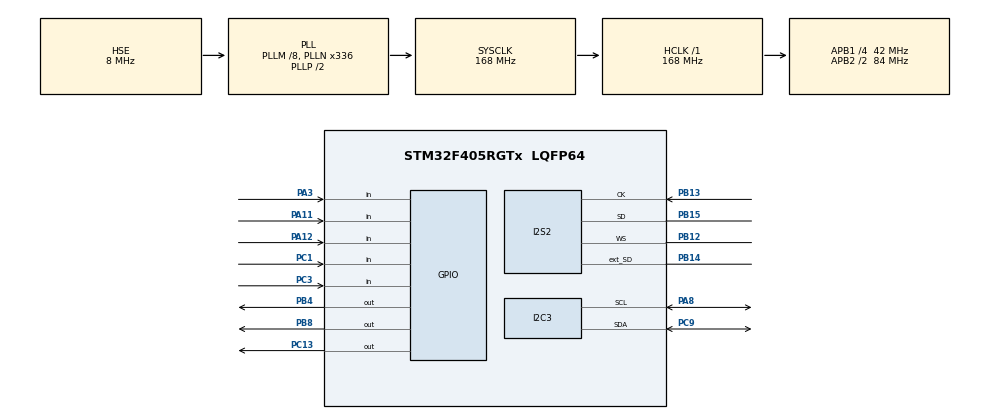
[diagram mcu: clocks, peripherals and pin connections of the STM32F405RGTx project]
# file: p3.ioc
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Dma.I2S2_EXT_RX.1.Direction=DMA_PERIPH_TO_MEMORY
Dma.I2S2_EXT_RX.1.FIFOMode=DMA_FIFOMODE_DISABLE
Dma.I2S2_EXT_RX.1.Instance=DMA1_Stream3
Dma.I2S2_EXT_RX.1.MemDataAlignment=DMA_MDATAALIGN_HALFWORD
Dma.I2S2_EXT_RX.1.MemInc=DMA_MINC_ENABLE
Dma.I2S2_EXT_RX.1.Mode=DMA_CIRCULAR
Dma.I2S2_EXT_RX.1.PeriphDataAlignment=DMA_PDATAALIGN_HALFWORD
Dma.I2S2_EXT_RX.1.PeriphInc=DMA_PINC_DISABLE
Dma.I2S2_EXT_RX.1.Priority=DMA_PRIORITY_VERY_HIGH
Dma.Request0=SPI2_TX
Dma.Request1=I2S2_EXT_RX
Dma.SPI2_TX.0.Direction=DMA_MEMORY_TO_PERIPH
Dma.SPI2_TX.0.FIFOMode=DMA_FIFOMODE_DISABLE
Dma.SPI2_TX.0.Instance=DMA1_Stream4
Dma.SPI2_TX.0.MemDataAlignment=DMA_MDATAALIGN_HALFWORD
Dma.SPI2_TX.0.MemInc=DMA_MINC_ENABLE
Dma.SPI2_TX.0.Mode=DMA_CIRCULAR
Dma.SPI2_TX.0.PeriphDataAlignment=DMA_PDATAALIGN_HALFWORD
Dma.SPI2_TX.0.PeriphInc=DMA_PINC_DISABLE
Dma.SPI2_TX.0.Priority=DMA_PRIORITY_VERY_HIGH
I2S2.AudioFreq=I2S_AUDIOFREQ_48K
I2S2.DataFormat=I2S_DATAFORMAT_16B_EXTENDED
I2S2.ErrorAudioFreq=0.02 %
I2S2.FullDuplexMode=I2S_FULLDUPLEXMODE_ENABLE
I2S2.Instance=SPI$Index
I2S2.RealAudioFreq=48.014 KHz
I2S2.VirtualMode=I2S_MODE_SLAVE
Mcu.Family=STM32F4
Mcu.Name=STM32F405RGTx
Mcu.Package=LQFP64
NVIC.DMA1_Stream3_IRQn=true\:0\:0\:true\:false\:true\:false
NVIC.DMA1_Stream4_IRQn=true\:0\:0\:true\:false\:true\:false
NVIC.PriorityGroup=NVIC_PRIORITYGROUP_4
PA11.Signal=GPIO_Input
PA12.Signal=GPIO_Input
PA13.Mode=Serial_Wire
PA13.Signal=SYS_JTMS-SWDIO
PA14.Mode=Serial_Wire
PA14.Signal=SYS_JTCK-SWCLK
PA3.Signal=GPIO_Input
PA8.Mode=I2C
PA8.Signal=I2C3_SCL
PB12.Mode=Full_Duplex_Slave
PB12.Signal=I2S2_WS
PB13.Mode=Full_Duplex_Slave
PB13.Signal=I2S2_CK
PB14.Mode=Full_Duplex_Slave
PB14.Signal=I2S2_ext_SD
PB15.Mode=Full_Duplex_Slave
PB15.Signal=I2S2_SD
PB3.Signal=SYS_JTDO-SWO
PB4.Signal=GPIO_Output
PB8.Signal=GPIO_Output
PC1.Signal=GPIO_Input
PC13-ANTI_TAMP.Signal=GPIO_Output
PC3.Signal=GPIO_Input
PC9.Mode=I2C
PC9.Signal=I2C3_SDA
PH0-OSC_IN.Mode=HSE-External-Oscillator
PH0-OSC_IN.Signal=RCC_OSC_IN
PH1-OSC_OUT.Mode=HSE-External-Oscillator
PH1-OSC_OUT.Signal=RCC_OSC_OUT
ProjectManager.HeapSize=0x200
ProjectManager.StackSize=0x400
ProjectManager.TargetToolchain=TrueSTUDIO
RCC.48MHZClocksFreq_Value=84000000
RCC.AHBFreq_Value=168000000
RCC.APB1CLKDivider=RCC_HCLK_DIV4
RCC.APB1Freq_Value=42000000
RCC.APB1TimFreq_Value=84000000
RCC.APB2CLKDivider=RCC_HCLK_DIV2
RCC.APB2Freq_Value=84000000
RCC.APB2TimFreq_Value=168000000
RCC.CortexFreq_Value=168000000
RCC.HCLKFreq_Value=168000000
RCC.HSE_VALUE=8000000
RCC.HSI_VALUE=16000000
RCC.LSE_VALUE=32768
RCC.PLLI2SN=295
RCC.PLLI2SR=3
RCC.PLLM=8
RCC.PLLN=336
RCC.PLLSourceVirtual=RCC_PLLSOURCE_HSE
RCC.SYSCLKFreq_VALUE=168000000
RCC.SYSCLKSource=RCC_SYSCLKSOURCE_PLLCLK
RCC.VCOOutputFreq_Value=336000000
board=custom

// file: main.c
/* USER CODE BEGIN Header */
/**
  ******************************************************************************
  * @file           : main.c
  * @brief          : Main program body
  ******************************************************************************
  ** This notice applies to any and all portions of this file
  * that are not between comment pairs USER CODE BEGIN and
  * USER CODE END. Other portions of this file, whether
  * inserted by the user or by software development tools
  * are owned by their respective copyright owners.
  *
  * COPYRIGHT(c) 2019 STMicroelectronics
  *
  * Redistribution and use in source and binary forms, with or without modification,
  * are permitted provided that the following conditions are met:
  *   1. Redistributions of source code must retain the above copyright notice,
  *      this list of conditions and the following disclaimer.
  *   2. Redistributions in binary form must reproduce the above copyright notice,
  *      this list of conditions and the following disclaimer in the documentation
  *      and/or other materials provided with the distribution.
  *   3. Neither the name of STMicroelectronics nor the names of its contributors
  *      may be used to endorse or promote products derived from this software
  *      without specific prior written permission.
  *
  * THIS SOFTWARE IS PROVIDED BY THE COPYRIGHT HOLDERS AND CONTRIBUTORS "AS IS"
  * AND ANY EXPRESS OR IMPLIED WARRANTIES, INCLUDING, BUT NOT LIMITED TO, THE
  * IMPLIED WARRANTIES OF MERCHANTABILITY AND FITNESS FOR A PARTICULAR PURPOSE ARE
  * DISCLAIMED. IN NO EVENT SHALL THE COPYRIGHT HOLDER OR CONTRIBUTORS BE LIABLE
  * FOR ANY DIRECT, INDIRECT, INCIDENTAL, SPECIAL, EXEMPLARY, OR CONSEQUENTIAL
  * DAMAGES (INCLUDING, BUT NOT LIMITED TO, PROCUREMENT OF SUBSTITUTE GOODS OR
  * SERVICES; LOSS OF USE, DATA, OR PROFITS; OR BUSINESS INTERRUPTION) HOWEVER
  * CAUSED AND ON ANY THEORY OF LIABILITY, WHETHER IN CONTRACT, STRICT LIABILITY,
  * OR TORT (INCLUDING NEGLIGENCE OR OTHERWISE) ARISING IN ANY WAY OUT OF THE USE
  * OF THIS SOFTWARE, EVEN IF ADVISED OF THE POSSIBILITY OF SUCH DAMAGE.
  *
  ******************************************************************************
  */
/* USER CODE END Header */

#include "main.h"

I2C_HandleTypeDef hi2c3;

I2S_HandleTypeDef hi2s2;
DMA_HandleTypeDef hdma_spi2_tx;
DMA_HandleTypeDef hdma_i2s2_ext_rx;

void SystemClock_Config(void);
static void MX_GPIO_Init(void);
static void MX_DMA_Init(void);
static void MX_I2C3_Init(void);
static void MX_I2S2_Init(void);

/* USER CODE BEGIN 0 */

volatile int16_t RX_BUFFER[BLOCK_SIZE*2] = {}; // 受信バッファ
volatile int16_t TX_BUFFER[BLOCK_SIZE*2] = {}; // 送信バッファ
volatile uint8_t sw[5] = {};           // スイッチオン・オフ状態
volatile uint8_t pot[3] = {10, 50, 0}; // LEVEL RATE MODE 各パラメータ
volatile uint8_t mute = 0;             // データ保存時ノイズ ミュート用

void writeLEVEL(uint8_t);
void writeRATE(uint8_t);
void writeMODE(uint8_t);
void saveData(void);

/* USER CODE END 0 */

int main(void)
{

  /* MCU Configuration--------------------------------------------------------*/

  /* Reset of all peripherals, Initializes the Flash interface and the Systick. */
  HAL_Init();

  /* Configure the system clock */
  SystemClock_Config();

  /* Initialize all configured peripherals */
  MX_GPIO_Init();
  MX_DMA_Init();
  MX_I2C3_Init();
  MX_I2S2_Init();
  /* USER CODE BEGIN 2 */

  // I2SのDMA開始
  HAL_I2SEx_TransmitReceive_DMA(&hi2s2,(uint16_t*)TX_BUFFER,(uint16_t*)RX_BUFFER,BLOCK_SIZE*2);

  // 割り込みが受信と送信で2回発生しないよう片方の割り込みを無効化
  HAL_NVIC_DisableIRQ(DMA1_Stream4_IRQn);

  // 起動画面
  ssd1306_Init();
  ssd1306_Fill(White);
  ssd1306_SetCursor(9, 9);
  ssd1306_WriteString("S", Font_16x26, Black);
  ssd1306_SetCursor(26, 9);
  ssd1306_WriteString("r", Font_16x26, Black);
  ssd1306_SetCursor(44, 9);
  ssd1306_WriteString("e", Font_16x26, Black);
  ssd1306_SetCursor(64, 9);
  ssd1306_WriteString("m", Font_16x26, Black);
  ssd1306_SetCursor(82, 9);
  ssd1306_WriteString("p", Font_16x26, Black);
  ssd1306_SetCursor(101, 9);
  ssd1306_WriteString("y", Font_16x26, Black);
  ssd1306_SetCursor(9, 40);
  ssd1306_WriteString("Simulated Phaser", Font_7x10, Black);
  ssd1306_SetCursor(45, 52);
  ssd1306_WriteString("v1.00", Font_7x10, Black);
  ssd1306_DrawPixel(102, 34, White);
  ssd1306_DrawPixel(103, 34, White);
  ssd1306_UpdateScreen();

  // I2Sのフレームエラー発生の場合、ソフトリセットを繰り返す
  HAL_Delay(300);
  if (__HAL_I2S_GET_FLAG(&hi2s2, I2S_FLAG_FRE)) NVIC_SystemReset();

  HAL_Delay(1500);

  // 保存済パラメータ読込
  pot[0] = *(uint8_t *)0x080E0000;
  pot[1] = *(uint8_t *)0x080E0001;
  pot[2] = *(uint8_t *)0x080E0002;

  // パラメータ画面
  ssd1306_Fill(Black);
  ssd1306_SetCursor(18, 0);
  ssd1306_WriteString("Srempy  v1.00", Font_7x10, White);
  ssd1306_SetCursor(16, 11);
  ssd1306_WriteString("LEVEL", Font_11x18, White);
  ssd1306_SetCursor(16, 29);
  ssd1306_WriteString("RATE", Font_11x18, White);
  ssd1306_SetCursor(16, 47);
  ssd1306_WriteString("MODE", Font_11x18, White);
  writeLEVEL(pot[0]);
  writeRATE(pot[1]);
  writeMODE(pot[2]);
  ssd1306_SetCursor(0, 11);
  ssd1306_WriteString(">", Font_11x18, White);
  ssd1306_UpdateScreen();

  // 基板上のLED点灯（起動確認）
  //HAL_GPIO_WritePin(GPIOC, GPIO_PIN_13, GPIO_PIN_SET);

  // スイッチ用カウンタ
  uint32_t swcount[5] = {};

  // カーソル位置
  uint8_t cursorPosition = 0;

  /* USER CODE END 2 */

  /* Infinite loop */
  while (1)
  {

    /* USER CODE BEGIN 3 */

    if (!(HAL_GPIO_ReadPin(GPIOC, GPIO_PIN_1))) // フットSW
    {
      swcount[0]++;
      if (swcount[0] == 3)
      {
        sw[0] = (sw[0] + 1) % 2;
        if (sw[0]) HAL_GPIO_WritePin(GPIOB, GPIO_PIN_8, SET);
        else HAL_GPIO_WritePin(GPIOB, GPIO_PIN_8, RESET);
      }
    }
    else swcount[0] = 0;
    if (!(HAL_GPIO_ReadPin(GPIOA, GPIO_PIN_11))) // 左上▲SW
    {
      swcount[1]++;
      if (swcount[1] == 1)
      {
        ssd1306_SetCursor(0, cursorPosition*18+11);
        ssd1306_WriteString(" ", Font_11x18, White);
        if ( cursorPosition > 0 ) cursorPosition--;
        else cursorPosition = 2;
        ssd1306_SetCursor(0, cursorPosition*18+11);
        ssd1306_WriteString(">", Font_11x18, White);
        ssd1306_UpdateScreen();
      }
      if (swcount[1] == 250) saveData(); // 長押しでデータ保存
    }
    else swcount[1] = 0;
    if (!(HAL_GPIO_ReadPin(GPIOA, GPIO_PIN_12))) // 左下▼SW
    {
      swcount[2]++;
      if (swcount[2] == 1)
      {
        ssd1306_SetCursor(0, cursorPosition*18+11);
        ssd1306_WriteString(" ", Font_11x18, White);
        if ( cursorPosition < 2 ) cursorPosition++;
        else cursorPosition = 0;
        ssd1306_SetCursor(0, cursorPosition*18+11);
        ssd1306_WriteString(">", Font_11x18, White);
        ssd1306_UpdateScreen();
      }
      if (swcount[2] == 250) saveData(); // 長押しでデータ保存
    }
    else swcount[2] = 0;
    if (!(HAL_GPIO_ReadPin(GPIOC, GPIO_PIN_3))) // 右上(+)SW
    {
      swcount[3]++;
      if (swcount[3] > 0 && cursorPosition == 0)  // LEVEL -10...+10
      {
        if (pot[0] < 20) pot[0]++; // pot[0] 0...20
        writeLEVEL(pot[0]);
      }
      if (swcount[3] > 0 && cursorPosition == 1) // RATE 0...100
      {
        if (pot[1] < 91 && swcount[3] > 2) pot[1] += 10;
        else if (pot[1] < 100) pot[1]++;
        writeRATE(pot[1]);
      }
      if (swcount[3] % 100 == 1 && cursorPosition == 2) // MODE 0...4
      {
        if (pot[2] < 4) pot[2]++;
        else pot[2] = 0;
        writeMODE(pot[2]);
      }
    }
    else swcount[3] = 0;
    if (!(HAL_GPIO_ReadPin(GPIOA, GPIO_PIN_3))) // 右下(-)SW
    {
      swcount[4]++;
      if (swcount[4] > 0 && cursorPosition == 0)  // LEVEL -10...+10
      {
        if (pot[0] > 0) pot[0]--;  // pot[0] 0...20
        writeLEVEL(pot[0]);
      }
      if (swcount[4] > 0 && cursorPosition == 1) // RATE 0...100
      {
        if (pot[1] > 9 && swcount[4] > 2) pot[1] -= 10;
        else if (pot[1] > 0) pot[1]--;
        writeRATE(pot[1]);
      }
      if (swcount[4] % 100 == 1 && cursorPosition == 2) // MODE 0...4
      {
        if (pot[2] > 0) pot[2]--;
        else pot[2] = 4;
        writeMODE(pot[2]);
      }
    }
    else swcount[4] = 0;

  HAL_Delay(1);
  }

  /* USER CODE END 3 */
}

void SystemClock_Config(void)
{
  RCC_OscInitTypeDef RCC_OscInitStruct = {0};
  RCC_ClkInitTypeDef RCC_ClkInitStruct = {0};
  RCC_PeriphCLKInitTypeDef PeriphClkInitStruct = {0};

  /**Configure the main internal regulator output voltage
  */
  __HAL_RCC_PWR_CLK_ENABLE();
  __HAL_PWR_VOLTAGESCALING_CONFIG(PWR_REGULATOR_VOLTAGE_SCALE1);
  /**Initializes the CPU, AHB and APB busses clocks
  */
  RCC_OscInitStruct.OscillatorType = RCC_OSCILLATORTYPE_HSE;
  RCC_OscInitStruct.HSEState = RCC_HSE_ON;
  RCC_OscInitStruct.PLL.PLLState = RCC_PLL_ON;
  RCC_OscInitStruct.PLL.PLLSource = RCC_PLLSOURCE_HSE;
  RCC_OscInitStruct.PLL.PLLM = 8;
  RCC_OscInitStruct.PLL.PLLN = 336;
  RCC_OscInitStruct.PLL.PLLP = RCC_PLLP_DIV2;
  RCC_OscInitStruct.PLL.PLLQ = 4;
  if (HAL_RCC_OscConfig(&RCC_OscInitStruct) != HAL_OK)
  {
    Error_Handler();
  }
  /**Initializes the CPU, AHB and APB busses clocks
  */
  RCC_ClkInitStruct.ClockType = RCC_CLOCKTYPE_HCLK|RCC_CLOCKTYPE_SYSCLK
                              |RCC_CLOCKTYPE_PCLK1|RCC_CLOCKTYPE_PCLK2;
  RCC_ClkInitStruct.SYSCLKSource = RCC_SYSCLKSOURCE_PLLCLK;
  RCC_ClkInitStruct.AHBCLKDivider = RCC_SYSCLK_DIV1;
  RCC_ClkInitStruct.APB1CLKDivider = RCC_HCLK_DIV4;
  RCC_ClkInitStruct.APB2CLKDivider = RCC_HCLK_DIV2;

  if (HAL_RCC_ClockConfig(&RCC_ClkInitStruct, FLASH_LATENCY_5) != HAL_OK)
  {
    Error_Handler();
  }
  PeriphClkInitStruct.PeriphClockSelection = RCC_PERIPHCLK_I2S;
  PeriphClkInitStruct.PLLI2S.PLLI2SN = 295;
  PeriphClkInitStruct.PLLI2S.PLLI2SR = 3;
  if (HAL_RCCEx_PeriphCLKConfig(&PeriphClkInitStruct) != HAL_OK)
  {
    Error_Handler();
  }
}

static void MX_I2C3_Init(void)
{

  hi2c3.Instance = I2C3;
  hi2c3.Init.ClockSpeed = 100000;
  hi2c3.Init.DutyCycle = I2C_DUTYCYCLE_2;
  hi2c3.Init.OwnAddress1 = 0;
  hi2c3.Init.AddressingMode = I2C_ADDRESSINGMODE_7BIT;
  hi2c3.Init.DualAddressMode = I2C_DUALADDRESS_DISABLE;
  hi2c3.Init.OwnAddress2 = 0;
  hi2c3.Init.GeneralCallMode = I2C_GENERALCALL_DISABLE;
  hi2c3.Init.NoStretchMode = I2C_NOSTRETCH_DISABLE;
  if (HAL_I2C_Init(&hi2c3) != HAL_OK)
  {
    Error_Handler();
  }

}

static void MX_I2S2_Init(void)
{

  hi2s2.Instance = SPI2;
  hi2s2.Init.Mode = I2S_MODE_SLAVE_TX;
  hi2s2.Init.Standard = I2S_STANDARD_PHILIPS;
  hi2s2.Init.DataFormat = I2S_DATAFORMAT_16B_EXTENDED;
  hi2s2.Init.MCLKOutput = I2S_MCLKOUTPUT_DISABLE;
  hi2s2.Init.AudioFreq = I2S_AUDIOFREQ_48K;
  hi2s2.Init.CPOL = I2S_CPOL_LOW;
  hi2s2.Init.ClockSource = I2S_CLOCK_PLL;
  hi2s2.Init.FullDuplexMode = I2S_FULLDUPLEXMODE_ENABLE;
  if (HAL_I2S_Init(&hi2s2) != HAL_OK)
  {
    Error_Handler();
  }

}

static void MX_DMA_Init(void)
{
  /* DMA controller clock enable */
  __HAL_RCC_DMA1_CLK_ENABLE();

  /* DMA interrupt init */
  /* DMA1_Stream3_IRQn interrupt configuration */
  HAL_NVIC_SetPriority(DMA1_Stream3_IRQn, 0, 0);
  HAL_NVIC_EnableIRQ(DMA1_Stream3_IRQn);
  /* DMA1_Stream4_IRQn interrupt configuration */
  HAL_NVIC_SetPriority(DMA1_Stream4_IRQn, 0, 0);
  HAL_NVIC_EnableIRQ(DMA1_Stream4_IRQn);

}

static void MX_GPIO_Init(void)
{
  GPIO_InitTypeDef GPIO_InitStruct = {0};

  /* GPIO Ports Clock Enable */
  __HAL_RCC_GPIOC_CLK_ENABLE();
  __HAL_RCC_GPIOH_CLK_ENABLE();
  __HAL_RCC_GPIOA_CLK_ENABLE();
  __HAL_RCC_GPIOB_CLK_ENABLE();

  /*Configure GPIO pin Output Level */
  HAL_GPIO_WritePin(GPIOC, GPIO_PIN_13, GPIO_PIN_RESET);

  /*Configure GPIO pin Output Level */
  HAL_GPIO_WritePin(GPIOB, GPIO_PIN_4|GPIO_PIN_8, GPIO_PIN_RESET);

  /*Configure GPIO pin : PC13 */
  GPIO_InitStruct.Pin = GPIO_PIN_13;
  GPIO_InitStruct.Mode = GPIO_MODE_OUTPUT_PP;
  GPIO_InitStruct.Pull = GPIO_NOPULL;
  GPIO_InitStruct.Speed = GPIO_SPEED_FREQ_LOW;
  HAL_GPIO_Init(GPIOC, &GPIO_InitStruct);

  /*Configure GPIO pins : PC1 PC3 */
  GPIO_InitStruct.Pin = GPIO_PIN_1|GPIO_PIN_3;
  GPIO_InitStruct.Mode = GPIO_MODE_INPUT;
  GPIO_InitStruct.Pull = GPIO_NOPULL;
  HAL_GPIO_Init(GPIOC, &GPIO_InitStruct);

  /*Configure GPIO pins : PA3 PA11 PA12 */
  GPIO_InitStruct.Pin = GPIO_PIN_3|GPIO_PIN_11|GPIO_PIN_12;
  GPIO_InitStruct.Mode = GPIO_MODE_INPUT;
  GPIO_InitStruct.Pull = GPIO_NOPULL;
  HAL_GPIO_Init(GPIOA, &GPIO_InitStruct);

  /*Configure GPIO pins : PB4 PB8 */
  GPIO_InitStruct.Pin = GPIO_PIN_4|GPIO_PIN_8;
  GPIO_InitStruct.Mode = GPIO_MODE_OUTPUT_PP;
  GPIO_InitStruct.Pull = GPIO_NOPULL;
  GPIO_InitStruct.Speed = GPIO_SPEED_FREQ_LOW;
  HAL_GPIO_Init(GPIOB, &GPIO_InitStruct);

}

/* USER CODE BEGIN 4 */

void HAL_I2SEx_TxRxHalfCpltCallback(I2S_HandleTypeDef *hi2s)
{
  static float xl[BLOCK_SIZE] = {}; // Lch float計算用受信データ Rchは未使用
  static float yl[BLOCK_SIZE] = {}; // Lch float計算済送信データ

  //HAL_GPIO_WritePin(GPIOB, GPIO_PIN_4, SET);
  /* データ送受信 --------------------*/
  for (int i = 0; i < BLOCK_SIZE; i++)
  {
    // 受信データを計算用データ配列へ 値を-1～+1(float)へ変更
    xl[i] = (float) RX_BUFFER[i*2] / 32768.0f;

    // 計算済データを送信バッファへ（境目がうまくいかないため1サンプルずらす）
    // 値は-32768～+32767(16ビット整数)へ戻す
    if (i < BLOCK_SIZE - 1) TX_BUFFER[i*2+2] = 32768.0f * yl[i];
    else TX_BUFFER[0] = 32768.0f * yl[i]; // i: BLOCK_SIZE-1
  }

  /* エフェクト処理 --------------------*/
  for (int i = 0; i < BLOCK_SIZE; i++)
  {
    // 真ん中のデータから処理するため順番を入れ替える
    // 例：ブロックサイズ32だと処理順番が16→31、0→15となる
    int j = i + BLOCK_SIZE / 2;
    if (j >= BLOCK_SIZE) j = j - BLOCK_SIZE;

    // エフェクト処理後、値を制限（-32768～+32767の範囲へ戻すため）
    yl[j] = fmaxf(fminf(bypass(xl[j]), 0.99997f), -1.0f);
  }
  //HAL_GPIO_WritePin(GPIOB, GPIO_PIN_4, RESET);
}

void writeLEVEL(uint8_t pot)
{
  char *buf[21] = {"-10", " -9", " -8", " -7", " -6", " -5", " -4",
                   " -3", " -2", " -1", "  0", " +1", " +2", " +3",
                   " +4", " +5", " +6", " +7", " +8", " +9", "+10"};
  ssd1306_SetCursor(82, 11);
  ssd1306_WriteString(buf[pot], Font_11x18, White);
  ssd1306_UpdateScreen();
}

void writeRATE(uint8_t pot)
{
  char buf;
  ssd1306_SetCursor(82, 29);
  if (pot < 100) ssd1306_WriteString(" ", Font_11x18, White);
  if (pot < 10 ) ssd1306_WriteString(" ", Font_11x18, White);
  ssd1306_WriteString(itoa(pot, &buf, 10), Font_11x18, White); // itoaで数値を文字列へ
  ssd1306_UpdateScreen();
}

void writeMODE(uint8_t pot)
{
  char *buf[5] = {"STD ", "SOFT", "HIGH", "LOW ", "INV "};
  ssd1306_SetCursor(82, 47);
  ssd1306_WriteString(buf[pot], Font_11x18, White);
  ssd1306_UpdateScreen();
}

void saveData(void)
{
  mute = 1;
  HAL_Delay(5); // ミュート後5ms待つ
  HAL_FLASH_Unlock(); // フラッシュ ロック解除
  FLASH_EraseInitTypeDef erase;
  uint32_t error = 0;
  erase.TypeErase = FLASH_TYPEERASE_SECTORS;
  erase.Sector = FLASH_SECTOR_11;
  erase.NbSectors = 1;
  erase.VoltageRange = FLASH_VOLTAGE_RANGE_3;
  HAL_FLASHEx_Erase(&erase, &error); // フラッシュ消去
  HAL_FLASH_Program(FLASH_TYPEPROGRAM_BYTE, 0x080E0000, pot[0]); // フラッシュ書込
  HAL_FLASH_Program(FLASH_TYPEPROGRAM_BYTE, 0x080E0001, pot[1]);
  HAL_FLASH_Program(FLASH_TYPEPROGRAM_BYTE, 0x080E0002, pot[2]);
  HAL_FLASH_Lock(); // フラッシュ ロック
  mute = 0;
  ssd1306_SetCursor(18, 0);
  ssd1306_WriteString("DATA SAVED!  ", Font_7x10, White);
  ssd1306_UpdateScreen();
  HAL_Delay(500);
  ssd1306_SetCursor(18, 0);
  ssd1306_WriteString("Srempy  v1.00", Font_7x10, White);
  ssd1306_UpdateScreen();
}

/* USER CODE END 4 */

void Error_Handler(void)
{
}

/************************ (C) COPYRIGHT STMicroelectronics *****END OF FILE****/
